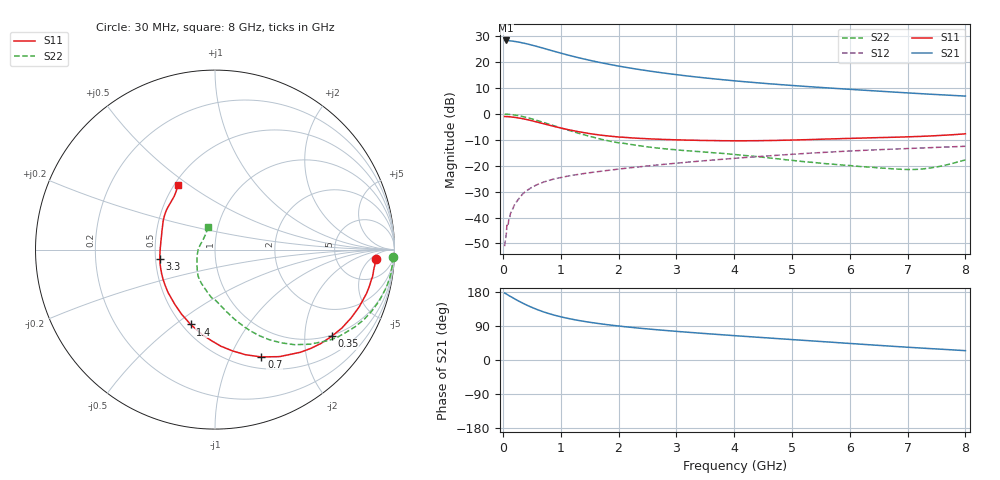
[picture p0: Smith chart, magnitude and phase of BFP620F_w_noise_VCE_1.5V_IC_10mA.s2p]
! Infineon Technologies  Discrete & RF Semiconductors
! BFP620F
! VCE =  1.5 V,  IC =  10 mA
! Common Emitter S-Parameters:  Dec 2014
# GHz  S  MA  R  50
!  f  S11  S21  S12  S22
! GHz  MAG  ANG  MAG  ANG  MAG  ANG  MAG  ANG
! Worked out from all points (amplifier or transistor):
!   95 points, 30 MHz to 8 GHz, reference 50 ohm
!   highest |S21| = 28.4 dB at 50 MHz (marker M1)
!   |S21| within 3 dB of that: start of sweep to 700.8 MHz
!   unconditionally stable (mu >= 1): 4.004 GHz to end of sweep
!   at 300 MHz: K = 0.16, MSG = 29.9 dB, |S12| = -32.0 dB
!   at 3.3 GHz: K = 0.96, MSG = 16.4 dB, |S12| = -18.4 dB
!   at 8 GHz: K = 1.09, MAG = 7.9 dB, |S12| = -12.5 dB
!   lowest NFmin = 0.60 dB at 450 MHz
!   S11 on the Smith chart (normalised r, x): 30 MHz: 14, -7; 350 MHz: 0.97, -2.72; 700 MHz: 0.63, -1.32; 1.4 GHz: 0.55, -0.57; 3.3 GHz: 0.53, -0.06; 8 GHz: 0.52, +0.45
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0.03  0.8961 -3.2  26.36 176.8  0.0028 87.3  0.9924 -2.4
0.05  0.8947 -5.6  26.43 175.0  0.004 77.3  0.9919 -4.2
0.15  0.8784 -16.3  25.82 166.1  0.0131 81.0  0.9755 -12.9
0.2  0.8647 -21.6  25.33 161.7  0.0175 77.9  0.9594 -17.1
0.25  0.8485 -26.7  24.85 157.4  0.0212 76.7  0.9399 -21.1
0.35  0.8102 -36.6  23.56 149.5  0.0292 72.1  0.8916 -28.8
0.45  0.7667 -45.9  22.23 142.2  0.0353 68.0  0.8374 -35.8
0.5  0.7437 -50.3  21.52 139.0  0.0384 66.3  0.8069 -39.0
0.6  0.6964 -58.9  20.09 132.7  0.0436 62.7  0.7467 -44.9
0.7  0.6517 -66.6  18.73 127.1  0.0483 60.1  0.6906 -50.1
0.9  0.5721 -80.3  16.17 117.9  0.0562 56.2  0.5866 -58.9
1  0.5388 -86.6  15.06 114.1  0.0593 55.0  0.5412 -62.6
1.2  0.4823 -97.8  13.15 107.5  0.0655 52.8  0.4632 -69.0
1.4  0.4386 -108.1  11.61 102.0  0.0709 51.6  0.3991 -74.7
1.6  0.4048 -117.5  10.35 97.4  0.0761 50.8  0.3485 -79.9
1.9  0.3693 -129.7  8.873 91.5  0.0837 49.8  0.2916 -87.7
2.7  0.3263 -155.6  6.386 79.4  0.1045 47.7  0.2187 -106.1
3.3  0.3123 -170.0  5.275 72.1  0.1203 46.1  0.1913 -116.1
4.1  0.3042 174.1  4.294 63.2  0.142 43.0  0.1618 -126.9
5.4  0.3238 154.0  3.323 49.8  0.1777 36.5  0.1155 -150.7
6.7  0.3549 136.6  2.687 36.6  0.2091 28.6  0.0881 167.6
8  0.4149 120.0  2.225 24.6  0.2382 20.7  0.1301 107.3
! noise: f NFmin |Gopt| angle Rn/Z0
0.45  0.6  0.26  8  0.22
0.9  0.67  0.25  19  0.19
1.5  0.73  0.24  21  0.15
1.8  0.75  0.22  24  0.13
1.9  0.76  0.18  38  0.15
2.4  0.81  0.15  54  0.13
3.5  0.91  0.14  75  0.12
5.5  1.08  0.11  178  0.1
6  1.12  0.1  207  0.16
